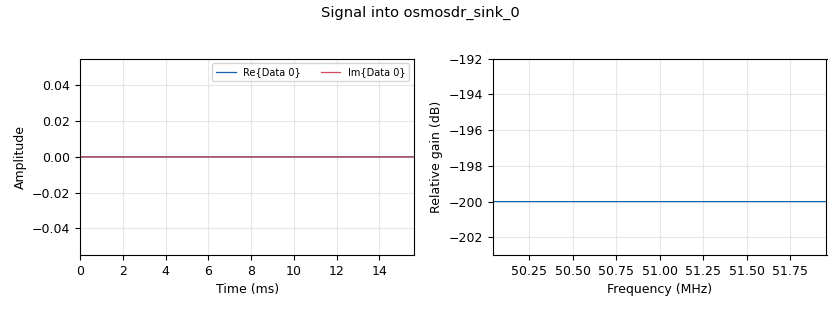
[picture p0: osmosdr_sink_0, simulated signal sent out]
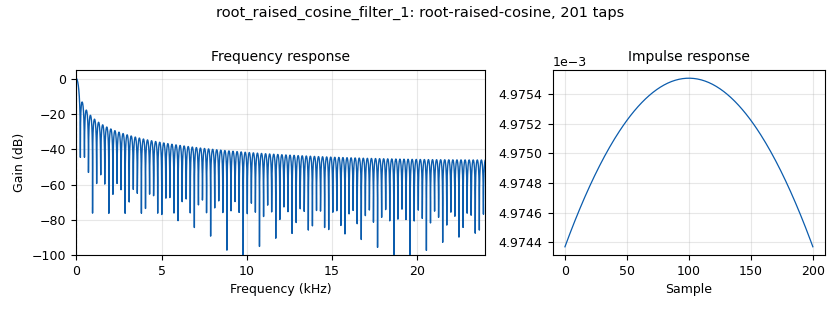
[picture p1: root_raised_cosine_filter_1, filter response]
<?xml version='1.0' encoding='utf-8'?>
<flow_graph>
<block>
<key>options</key>
<param><key>id</key><value>top_block</value></param>
<param><key>generate_options</key><value>wx_gui</value></param>
<param><key>category</key><value>Custom</value></param>
</block>
<block>
<key>variable</key>
<param><key>id</key><value>center_freq</value></param>
<param><key>value</key><value>51.0E6</value></param>
</block>
<block>
<key>variable</key>
<param><key>id</key><value>samp_rate</value></param>
<param><key>value</key><value>audio_rate * 40</value></param>
</block>
<block>
<key>variable</key>
<param><key>id</key><value>audio_rate</value></param>
<param><key>value</key><value>48000</value></param>
</block>
<block>
<key>variable</key>
<param><key>id</key><value>wpm</value></param>
<param><key>value</key><value>20</value></param>
</block>
<block>
<key>blocks_vector_source_x</key>
<param><key>id</key><value>blocks_vector_source_x_0</value></param>
<param><key>type</key><value>complex</value></param>
<param><key>vector</key><value>(1,0,1,0,1,0,1,1,1, 0,0,0, 1,0,1,0,1,0,1,1,1, 0,0,0, 1,0,1,0,1,0,1,1,1, 0,0,0,0,0,0,0, 1,1,1,0,1,0,1, 0,0,0, 1, 0,0,0,0,0,0,0, 1,0,1,0,1,0,1,1,1, 0,0,0, 1, 0,0,0, 1,0,1,0,1,0,1,1,1,0,1,1,1, 0,0,0, 1,0,1, 0,0,0, 1,0,1,1,1,0,1, 0,0,0, 1,0,1,1,1,0,1, 0,0,0,0,0,0,0, 1,1,1, 0,0,0, 1, 0,0,0, 1,0,1,0,1, 0,0,0, 1,1,1, 0,0,0, 1,0,1, 0,0,0, 1,1,1,0,1, 0,0,0, 1,1,1,0,1,1,1,0,1, 0,0,0,0,0,0,0)</value></param>
<param><key>repeat</key><value>True</value></param>
</block>
<block>
<key>blocks_repeat</key>
<param><key>id</key><value>blocks_repeat_0</value></param>
<param><key>type</key><value>complex</value></param>
<param><key>interp</key><value>int(1.2 * audio_rate / wpm)</value></param>
</block>
<block>
<key>root_raised_cosine_filter</key>
<param><key>id</key><value>root_raised_cosine_filter_1</value></param>
<param><key>type</key><value>fir_filter_ccf</value></param>
<param><key>decim</key><value>1</value></param>
<param><key>gain</key><value>1</value></param>
<param><key>samp_rate</key><value>audio_rate</value></param>
<param><key>sym_rate</key><value>5</value></param>
<param><key>alpha</key><value>0.35</value></param>
<param><key>ntaps</key><value>200</value></param>
</block>
<block>
<key>root_raised_cosine_filter</key>
<param><key>id</key><value>root_raised_cosine_filter_0</value></param>
<param><key>type</key><value>fir_filter_ccf</value></param>
<param><key>decim</key><value>1</value></param>
<param><key>gain</key><value>1</value></param>
<param><key>samp_rate</key><value>audio_rate</value></param>
<param><key>sym_rate</key><value>5</value></param>
<param><key>alpha</key><value>0.35</value></param>
<param><key>ntaps</key><value>200</value></param>
</block>
<block>
<key>analog_sig_source_x</key>
<param><key>id</key><value>analog_sig_source_x_5</value></param>
<param><key>type</key><value>complex</value></param>
<param><key>samp_rate</key><value>audio_rate</value></param>
<param><key>waveform</key><value>analog.GR_COS_WAVE</value></param>
<param><key>freq</key><value>20000</value></param>
<param><key>amp</key><value>1 if cw_on else 0</value></param>
<param><key>offset</key><value>0</value></param>
</block>
<block>
<key>analog_sig_source_x</key>
<param><key>id</key><value>analog_sig_source_x_4</value></param>
<param><key>type</key><value>complex</value></param>
<param><key>samp_rate</key><value>samp_rate</value></param>
<param><key>waveform</key><value>analog.GR_COS_WAVE</value></param>
<param><key>freq</key><value>120000</value></param>
<param><key>amp</key><value>1.0 / 7</value></param>
<param><key>offset</key><value>0</value></param>
</block>
<block>
<key>osmosdr_sink</key>
<param><key>id</key><value>osmosdr_sink_0</value></param>
<param><key>type</key><value>fc32</value></param>
<param><key>args</key><value></value></param>
<param><key>sync</key><value></value></param>
<param><key>sample_rate</key><value>samp_rate</value></param>
<param><key>freq0</key><value>center_freq</value></param>
<param><key>gain0</key><value>40</value></param>
<param><key>if_gain0</key><value>0</value></param>
<param><key>bb_gain0</key><value>0</value></param>
<param><key>ant0</key><value>1</value></param>
</block>
<block>
<key>blocks_multiply_xx</key>
<param><key>id</key><value>blocks_multiply_xx_5</value></param>
<param><key>type</key><value>complex</value></param>
</block>
<block>
<key>rational_resampler_xxx</key>
<param><key>id</key><value>rational_resampler_xxx_2</value></param>
<param><key>type</key><value>ccc</value></param>
<param><key>interp</key><value>samp_rate</value></param>
<param><key>decim</key><value>audio_rate</value></param>
<param><key>taps</key><value></value></param>
</block>
<block>
<key>variable_slider</key>
<param><key>id</key><value>i_offset</value></param>
<param><key>label</key><value>DC offset I</value></param>
<param><key>value</key><value>0</value></param>
<param><key>min</key><value>-0.1</value></param>
<param><key>max</key><value>0.1</value></param>
<param><key>num_steps</key><value>200</value></param>
<param><key>style</key><value>wx.SL_HORIZONTAL</value></param>
<param><key>converver</key><value>float_converter</value></param>
<param><key>grid_pos</key><value>2,0,1,7</value></param>
</block>
<block>
<key>variable_slider</key>
<param><key>id</key><value>magnitude</value></param>
<param><key>label</key><value>Magnitude correction</value></param>
<param><key>value</key><value>0</value></param>
<param><key>min</key><value>-0.1</value></param>
<param><key>max</key><value>0.1</value></param>
<param><key>num_steps</key><value>200</value></param>
<param><key>style</key><value>wx.SL_HORIZONTAL</value></param>
<param><key>converver</key><value>float_converter</value></param>
<param><key>grid_pos</key><value>1,0,1,7</value></param>
</block>
<block>
<key>variable_slider</key>
<param><key>id</key><value>phase</value></param>
<param><key>label</key><value>Phase correction</value></param>
<param><key>value</key><value>0</value></param>
<param><key>min</key><value>-0.1</value></param>
<param><key>max</key><value>0.1</value></param>
<param><key>num_steps</key><value>200</value></param>
<param><key>style</key><value>wx.SL_HORIZONTAL</value></param>
<param><key>converver</key><value>float_converter</value></param>
<param><key>grid_pos</key><value>0,0,1,7</value></param>
</block>
<block>
<key>variable_slider</key>
<param><key>id</key><value>q_offset</value></param>
<param><key>label</key><value>DC offset Q</value></param>
<param><key>value</key><value>0</value></param>
<param><key>min</key><value>-0.1</value></param>
<param><key>max</key><value>0.1</value></param>
<param><key>num_steps</key><value>200</value></param>
<param><key>style</key><value>wx.SL_HORIZONTAL</value></param>
<param><key>converver</key><value>float_converter</value></param>
<param><key>grid_pos</key><value>3,0,1,7</value></param>
</block>
<block>
<key>variable_check_box</key>
<param><key>id</key><value>cw_on</value></param>
<param><key>label</key><value>CW</value></param>
<param><key>value</key><value>True</value></param>
<param><key>true</key><value>True</value></param>
<param><key>false</key><value>False</value></param>
<param><key>grid_pos</key><value>4,5,1,1</value></param>
</block>
<block>
<key>blocks_multiply_xx</key>
<param><key>id</key><value>blocks_multiply_xx_4</value></param>
<param><key>type</key><value>complex</value></param>
</block>
<block>
<key>blocks_add_const_vxx</key>
<param><key>id</key><value>blocks_add_const_vxx_1</value></param>
<param><key>type</key><value>complex</value></param>
<param><key>const</key><value>i_offset + 1j * q_offset</value></param>
</block>
<connection><source_block_id>blocks_vector_source_x_0</source_block_id><sink_block_id>blocks_repeat_0</sink_block_id><source_key>0</source_key><sink_key>0</sink_key></connection>
<connection><source_block_id>blocks_repeat_0</source_block_id><sink_block_id>root_raised_cosine_filter_1</sink_block_id><source_key>0</source_key><sink_key>0</sink_key></connection>
<connection><source_block_id>root_raised_cosine_filter_1</source_block_id><sink_block_id>root_raised_cosine_filter_0</sink_block_id><source_key>0</source_key><sink_key>0</sink_key></connection>
<connection><source_block_id>root_raised_cosine_filter_0</source_block_id><sink_block_id>blocks_multiply_xx_5</sink_block_id><source_key>0</source_key><sink_key>0</sink_key></connection>
<connection><source_block_id>analog_sig_source_x_5</source_block_id><sink_block_id>blocks_multiply_xx_5</sink_block_id><source_key>0</source_key><sink_key>1</sink_key></connection>
<connection><source_block_id>analog_sig_source_x_4</source_block_id><sink_block_id>blocks_multiply_xx_4</sink_block_id><source_key>0</source_key><sink_key>1</sink_key></connection>
<connection><source_block_id>rational_resampler_xxx_2</source_block_id><sink_block_id>blocks_multiply_xx_4</sink_block_id><source_key>0</source_key><sink_key>0</sink_key></connection>
<connection><source_block_id>blocks_add_const_vxx_1</source_block_id><sink_block_id>osmosdr_sink_0</sink_block_id><source_key>0</source_key><sink_key>0</sink_key></connection>
<connection><source_block_id>blocks_multiply_xx_5</source_block_id><sink_block_id>rational_resampler_xxx_2</sink_block_id><source_key>0</source_key><sink_key>0</sink_key></connection>
<connection><source_block_id>blocks_multiply_xx_4</source_block_id><sink_block_id>blocks_add_const_vxx_1</sink_block_id><source_key>0</source_key><sink_key>0</sink_key></connection>
</flow_graph>
